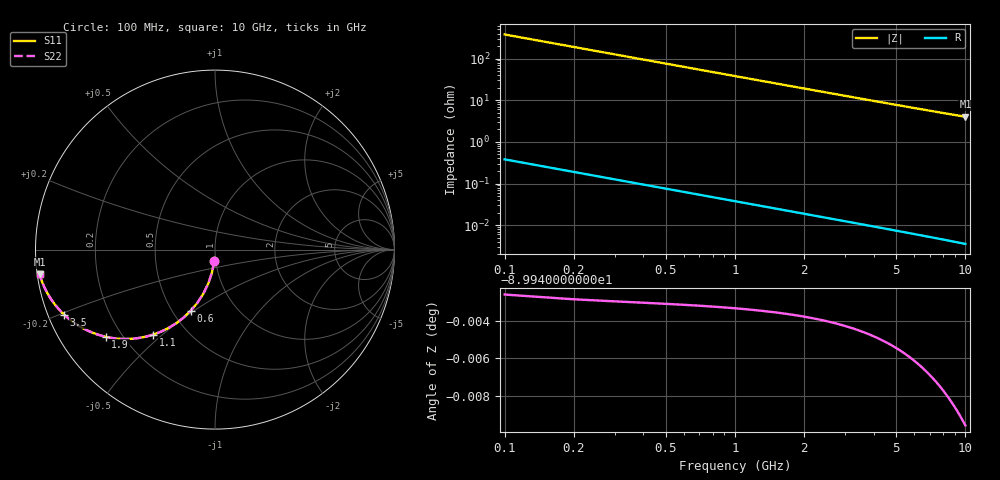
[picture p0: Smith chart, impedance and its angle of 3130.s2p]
# Hz S RI R 50.00
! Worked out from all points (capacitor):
!   100 points, 100 MHz to 10 GHz, reference 50 ohm
!   read as one part in shunt: C = 4.19 pF near 100 MHz
!   lowest |Z| = 4.02 ohm at 10 GHz (marker M1)
!   S11 on the Smith chart (normalised r, x): 100 MHz: 0.98, -0.13; 600 MHz: 0.62, -0.49; 1.1 GHz: 0.32, -0.47; 1.9 GHz: 0.14, -0.34; 3.5 GHz: 0.05, -0.21; 10 GHz: 0.01, -0.07
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1e8  -0.00437 -0.0655  0.9956 -0.0657  0.9956 -0.0657  -0.00437 -0.0655
2e8  -0.0172 -0.1293  0.9828 -0.1297  0.9828 -0.1297  -0.0172 -0.1293
3e8  -0.0377 -0.1898  0.9622 -0.1904  0.9622 -0.1904  -0.0377 -0.1898
4e8  -0.0651 -0.2459  0.9349 -0.2466  0.9349 -0.2466  -0.0651 -0.2459
5e8  -0.098 -0.2964  0.9019 -0.2973  0.9019 -0.2973  -0.098 -0.2964
6e8  -0.1352 -0.3409  0.8647 -0.342  0.8647 -0.342  -0.1352 -0.3409
8e8  -0.2173 -0.4112  0.7827 -0.4126  0.7827 -0.4126  -0.2173 -0.4112
9e8  -0.2599 -0.4372  0.7401 -0.4389  0.7401 -0.4389  -0.2599 -0.4372
1.1e9  -0.3438 -0.4735  0.6562 -0.4755  0.6562 -0.4755  -0.3438 -0.4735
1.4e9  -0.4587 -0.4965  0.5413 -0.4991  0.5413 -0.4991  -0.4587 -0.4965
1.8e9  -0.5829 -0.4909  0.417 -0.4942  0.417 -0.4942  -0.5829 -0.4909
1.9e9  -0.6089 -0.4857  0.3911 -0.4893  0.3911 -0.4893  -0.6089 -0.4857
2.2e9  -0.6758 -0.4655  0.3242 -0.4696  0.3242 -0.4696  -0.6758 -0.4655
2.6e9  -0.744 -0.4335  0.256 -0.4383  0.256 -0.4383  -0.744 -0.4335
3e9  -0.7944 -0.4008  0.2056 -0.4064  0.2056 -0.4064  -0.7944 -0.4008
3.4e9  -0.8321 -0.3701  0.1678 -0.3764  0.1678 -0.3764  -0.8321 -0.3701
3.5e9  -0.84 -0.3628  0.1599 -0.3693  0.1599 -0.3693  -0.84 -0.3628
4.2e9  -0.8831 -0.3169  0.1169 -0.3248  0.1169 -0.3248  -0.8831 -0.3169
5.1e9  -0.9175 -0.2697  0.0824 -0.2793  0.0824 -0.2793  -0.9175 -0.2697
6.7e9  -0.9505 -0.2098  0.0493 -0.2226  0.0493 -0.2226  -0.9505 -0.2098
8.4e9  -0.9681 -0.1669  0.0317 -0.1831  0.0317 -0.1831  -0.9681 -0.1669
1e10  -0.9774 -0.138  0.0224 -0.1575  0.0224 -0.1575  -0.9774 -0.138
